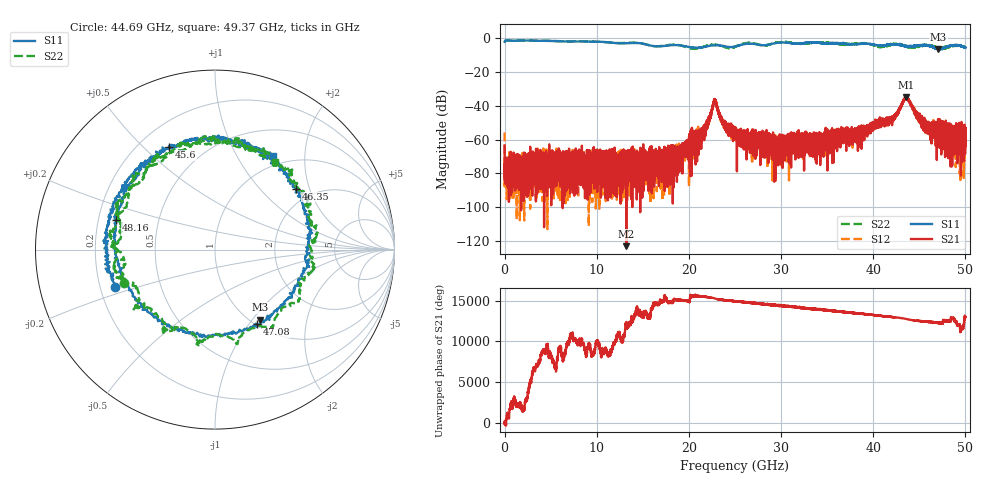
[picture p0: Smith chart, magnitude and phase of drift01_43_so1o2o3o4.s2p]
!Created with skrf (http://scikit-rf.org).
# Hz S RI R 50.0
!freq ReS11 ImS11 ReS21 ImS21 ReS12 ImS12 ReS22 ImS22
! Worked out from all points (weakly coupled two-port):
!   10001 points, 300 kHz to 50 GHz, reference 50 ohm
!   highest |S21| = -34.72 dB at 43.61 GHz (marker M1); lowest = -123.0 dB at 13.21 GHz (marker M2)
!   lowest |S11| = -6.7 dB at 47.07 GHz (marker M3), VSWR 2.73, Z = 55.2 - j54.7 ohm
!   |S11| at or under -10 dB: nowhere
!   |S22| runs from -6.6 to -1.4 dB; largest |S21 - S12| = 0.004
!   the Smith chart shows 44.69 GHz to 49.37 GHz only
!   S11 on the Smith chart (normalised r, x): 44.69 GHz: 0.26, -0.17; 45.6 GHz: 0.32, +0.60; 46.35 GHz: 1.64, +1.64; 47.08 GHz: 1.01, -1.09; 48.16 GHz: 0.27, +0.14; 49.37 GHz: 0.85, +1.43
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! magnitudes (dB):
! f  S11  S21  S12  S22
! 300 kHz  -2.1  -63.4  -55.8  -2.1
! 370.3 MHz  -1.4  -77.7  -73.2  -1.4
! 8.335 GHz  -1.9  -75.8  -73.7  -1.8
! 13.21 GHz  -3.0  -123.0  -86.5  -2.8
! 16.67 GHz  -4.9  -68.3  -73.7  -4.8
! 20.93 GHz  -5.6  -56.8  -57.8  -6.1
! 22.04 GHz  -4.7  -52.4  -49.9  -4.3
! 22.8 GHz  -4.3  -36.5  -36.1  -4.0
! 23.85 GHz  -4.8  -50.7  -52.5  -5.2
! 25 GHz  -5.0  -54.3  -58.0  -5.1
! 29.83 GHz  -2.6  -60.7  -66.0  -2.4
! 33.34 GHz  -2.6  -61.7  -59.3  -2.7
! 41.67 GHz  -3.9  -48.0  -49.0  -4.3
! 43.61 GHz  -4.6  -34.7  -35.0  -4.8
! 44.69 GHz  -4.5  -45.2  -44.4  -5.3
! 45.6 GHz  -4.1  -51.7  -51.0  -4.2
! 46.35 GHz  -4.9  -51.8  -50.9  -4.6
! 47.07 GHz  -6.7  -52.1  -53.4  -5.5
! 47.08 GHz  -6.4  -53.6  -53.2  -5.3
! 48.16 GHz  -4.8  -57.2  -55.6  -5.4
! 49.37 GHz  -4.2  -54.9  -58.3  -4.5
! 50 GHz  -5.6  -67.9  -61.6  -5.4
